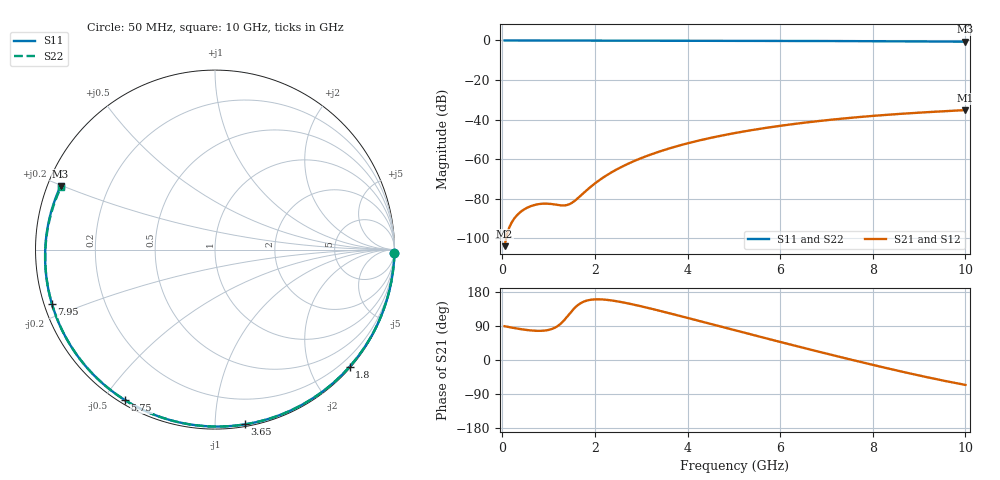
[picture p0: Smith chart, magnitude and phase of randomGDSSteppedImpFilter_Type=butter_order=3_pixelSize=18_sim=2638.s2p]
! freq	dB(S11)	phase(S11)	dB(S12)	phase(S12)
!  dB(S21)	phase(S21)	dB(S22)	phase(S22)
!S-par simulation data
#  GHz  S  DB  R 50
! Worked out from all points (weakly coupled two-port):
!   200 points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, 50 MHz to 10 GHz, reference 50 ohm
!   highest |S21| = -35.25 dB at 10 GHz (marker M1); lowest = -104.1 dB at 50 MHz (marker M2)
!   lowest |S11| = -0.6 dB at 10 GHz (marker M3), VSWR 27.69, Z = 1.88 + j9.86 ohm
!   |S11| at or under -10 dB: nowhere
!   |S22| runs from -0.7 to 0.0 dB; largest |S21 - S12| = 0
!   S11 on the Smith chart (normalised r, x): 50 MHz: 0, -98; 1.8 GHz: 0.02, -2.67; 3.65 GHz: 0.01, -1.19; 5.75 GHz: 0.02, -0.57; 7.95 GHz: 0.02, -0.16; 10 GHz: 0.04, +0.20
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0.05  -0.00 -1.2  -104.10 89.1  -104.10 89.1  -0.00 -1.2
0.4  -0.01 -9.3  -86.67 81.4  -86.67 81.4  -0.01 -9.3
0.8  -0.02 -18.5  -82.78 76.9  -82.78 76.9  -0.02 -18.5
1.6  -0.05 -36.6  -80.46 141.6  -80.46 141.6  -0.05 -36.6
1.65  -0.05 -37.7  -79.44 146.5  -79.44 146.5  -0.05 -37.7
1.75  -0.05 -39.9  -77.31 153.5  -77.31 153.5  -0.05 -39.9
1.8  -0.05 -41.1  -76.26 155.8  -76.26 155.8  -0.05 -41.0
1.95  -0.06 -44.4  -73.28 159.6  -73.28 159.6  -0.06 -44.3
2.15  -0.06 -48.7  -69.82 159.9  -69.82 159.9  -0.06 -48.7
2.5  -0.07 -56.3  -64.90 154.4  -64.90 154.4  -0.07 -56.2
2.9  -0.08 -64.8  -60.50 144.5  -60.50 144.5  -0.08 -64.7
3.4  -0.10 -75.2  -56.16 129.8  -56.16 129.8  -0.10 -75.1
3.65  -0.11 -80.3  -54.33 122.1  -54.33 122.1  -0.11 -80.2
4.35  -0.13 -94.2  -50.07 100.0  -50.07 100.0  -0.13 -94.1
5.05  -0.16 -107.7  -46.73 77.6  -46.73 77.6  -0.16 -107.5
5.75  -0.20 -120.8  -44.04 55.5  -44.04 55.5  -0.20 -120.6
6.7  -0.26 -138.3  -41.13 26.0  -41.13 26.0  -0.26 -138.1
7.35  -0.32 -150.3  -39.52 6.3  -39.52 6.3  -0.32 -149.9
7.95  -0.37 -161.4  -38.27 -11.4  -38.27 -11.4  -0.37 -161.0
8.35  -0.42 -169.0  -37.55 -22.9  -37.55 -22.9  -0.42 -168.6
9.2  -0.52 174.3  -36.26 -46.1  -36.26 -46.1  -0.53 174.8
10  -0.63 157.7  -35.25 -65.8  -35.25 -65.8  -0.67 158.0
